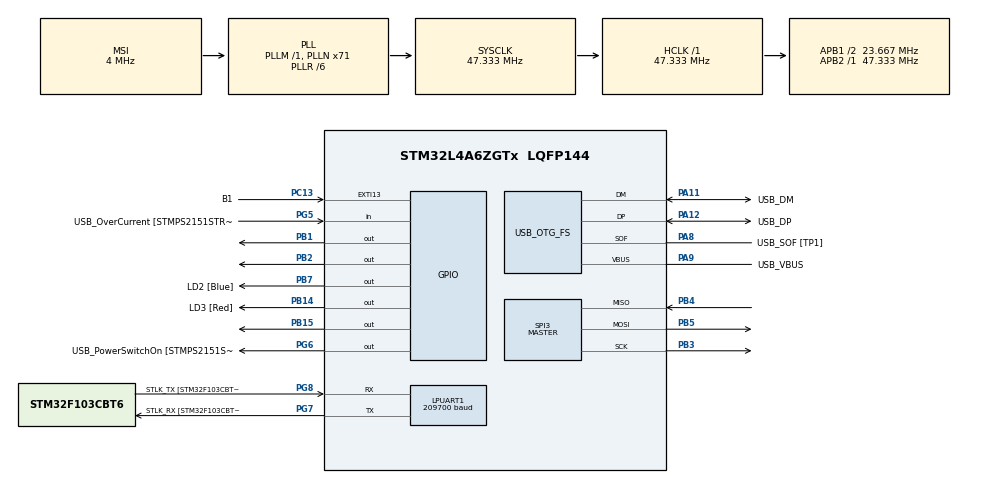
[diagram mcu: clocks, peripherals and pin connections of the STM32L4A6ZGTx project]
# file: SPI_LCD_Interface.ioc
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Dma.LPUART_RX.2.Direction=DMA_PERIPH_TO_MEMORY
Dma.LPUART_RX.2.Instance=DMA2_Channel7
Dma.LPUART_RX.2.MemDataAlignment=DMA_MDATAALIGN_BYTE
Dma.LPUART_RX.2.MemInc=DMA_MINC_ENABLE
Dma.LPUART_RX.2.Mode=DMA_NORMAL
Dma.LPUART_RX.2.PeriphDataAlignment=DMA_PDATAALIGN_BYTE
Dma.LPUART_RX.2.PeriphInc=DMA_PINC_DISABLE
Dma.LPUART_RX.2.Priority=DMA_PRIORITY_LOW
Dma.LPUART_TX.3.Direction=DMA_MEMORY_TO_PERIPH
Dma.LPUART_TX.3.Instance=DMA2_Channel6
Dma.LPUART_TX.3.MemDataAlignment=DMA_MDATAALIGN_BYTE
Dma.LPUART_TX.3.MemInc=DMA_MINC_ENABLE
Dma.LPUART_TX.3.Mode=DMA_NORMAL
Dma.LPUART_TX.3.PeriphDataAlignment=DMA_PDATAALIGN_BYTE
Dma.LPUART_TX.3.PeriphInc=DMA_PINC_DISABLE
Dma.LPUART_TX.3.Priority=DMA_PRIORITY_LOW
Dma.Request0=SPI3_RX
Dma.Request1=SPI3_TX
Dma.Request2=LPUART_RX
Dma.Request3=LPUART_TX
Dma.SPI3_RX.0.Direction=DMA_PERIPH_TO_MEMORY
Dma.SPI3_RX.0.Instance=DMA2_Channel1
Dma.SPI3_RX.0.MemDataAlignment=DMA_MDATAALIGN_BYTE
Dma.SPI3_RX.0.MemInc=DMA_MINC_ENABLE
Dma.SPI3_RX.0.Mode=DMA_NORMAL
Dma.SPI3_RX.0.PeriphDataAlignment=DMA_PDATAALIGN_BYTE
Dma.SPI3_RX.0.PeriphInc=DMA_PINC_DISABLE
Dma.SPI3_RX.0.Priority=DMA_PRIORITY_LOW
Dma.SPI3_TX.1.Direction=DMA_MEMORY_TO_PERIPH
Dma.SPI3_TX.1.Instance=DMA2_Channel2
Dma.SPI3_TX.1.MemDataAlignment=DMA_MDATAALIGN_BYTE
Dma.SPI3_TX.1.MemInc=DMA_MINC_ENABLE
Dma.SPI3_TX.1.Mode=DMA_NORMAL
Dma.SPI3_TX.1.PeriphDataAlignment=DMA_PDATAALIGN_BYTE
Dma.SPI3_TX.1.PeriphInc=DMA_PINC_DISABLE
Dma.SPI3_TX.1.Priority=DMA_PRIORITY_LOW
LPUART1.AutoBaudRateEnableParam=UART_ADVFEATURE_AUTOBAUDRATE_DISABLE
LPUART1.BaudRate=209700
LPUART1.DMADisableonRxErrorParam=UART_ADVFEATURE_DMA_ENABLEONRXERROR
LPUART1.DataInvertParam=UART_ADVFEATURE_DATAINV_DISABLE
LPUART1.MSBFirstParam=UART_ADVFEATURE_MSBFIRST_DISABLE
LPUART1.Mode=UART_MODE_TX_RX
LPUART1.OneBitSampling=UART_ONE_BIT_SAMPLE_DISABLE
LPUART1.OverrunDisableParam=UART_ADVFEATURE_OVERRUN_ENABLE
LPUART1.Parity=UART_PARITY_NONE
LPUART1.RxPinLevelInvertParam=UART_ADVFEATURE_RXINV_DISABLE
LPUART1.StopBits=UART_STOPBITS_1
LPUART1.SwapParam=UART_ADVFEATURE_SWAP_DISABLE
LPUART1.TxPinLevelInvertParam=UART_ADVFEATURE_TXINV_DISABLE
LPUART1.WordLength=UART_WORDLENGTH_7B
Mcu.Family=STM32L4
Mcu.Name=STM32L4A6ZGTx
Mcu.Package=LQFP144
NVIC.DMA2_Channel1_IRQn=true\:0\:0\:false\:false\:true\:false\:true\:true
NVIC.DMA2_Channel2_IRQn=true\:0\:0\:false\:false\:true\:false\:true\:true
NVIC.DMA2_Channel6_IRQn=true\:0\:0\:false\:false\:true\:false\:true\:true
NVIC.DMA2_Channel7_IRQn=true\:0\:0\:false\:false\:true\:false\:true\:true
NVIC.PriorityGroup=NVIC_PRIORITYGROUP_4
NVIC.SPI3_IRQn=true\:0\:0\:false\:false\:true\:true\:true\:true
PA10.GPIO_Label=USB_ID
PA10.Signal=USB_OTG_FS_ID
PA11.GPIO_Label=USB_DM
PA11.Mode=Device_Only
PA11.Signal=USB_OTG_FS_DM
PA12.GPIO_Label=USB_DP
PA12.Mode=Device_Only
PA12.Signal=USB_OTG_FS_DP
PA13\ (JTMS/SWDIO).GPIO_Label=TMS
PA13\ (JTMS/SWDIO).Mode=Serial_Wire
PA13\ (JTMS/SWDIO).Signal=SYS_JTMS-SWDIO
PA14\ (JTCK/SWCLK).GPIO_Label=TCK
PA14\ (JTCK/SWCLK).Mode=Serial_Wire
PA14\ (JTCK/SWCLK).Signal=SYS_JTCK-SWCLK
PA4.Signal=SPI3_NSS
PA8.GPIO_Label=USB_SOF [TP1]
PA8.Mode=Activate_SOF_FS
PA8.Signal=USB_OTG_FS_SOF
PA9.GPIO_Label=USB_VBUS
PA9.Mode=Activate_VBUS
PA9.Signal=USB_OTG_FS_VBUS
PB1.Signal=GPIO_Output
PB14.GPIO_Label=LD3 [Red]
PB14.Signal=GPIO_Output
PB15.Signal=GPIO_Output
PB2.Signal=GPIO_Output
PB3\ (JTDO/TRACESWO).Mode=Full_Duplex_Master
PB3\ (JTDO/TRACESWO).Signal=SPI3_SCK
PB4\ (NJTRST).Mode=Full_Duplex_Master
PB4\ (NJTRST).Signal=SPI3_MISO
PB5.Mode=Full_Duplex_Master
PB5.Signal=SPI3_MOSI
PB7.GPIO_Label=LD2 [Blue]
PB7.Signal=GPIO_Output
PC13.GPIO_Label=B1
PC13.Signal=GPXTI13
PC14-OSC32_IN\ (PC14).Mode=LSE-External-Oscillator
PC14-OSC32_IN\ (PC14).Signal=RCC_OSC32_IN
PC15-OSC32_OUT\ (PC15).Mode=LSE-External-Oscillator
PC15-OSC32_OUT\ (PC15).Signal=RCC_OSC32_OUT
PG5.GPIO_Label=USB_OverCurrent [STMPS2151STR_FAULT]
PG5.Signal=GPIO_Input
PG6.GPIO_Label=USB_PowerSwitchOn [STMPS2151STR_EN]
PG6.Signal=GPIO_Output
PG7.GPIO_Label=STLK_RX [STM32F103CBT6_PA3]
PG7.Mode=Asynchronous
PG7.Signal=LPUART1_TX
PG8.GPIO_Label=STLK_TX [STM32F103CBT6_PA2]
PG8.Mode=Asynchronous
PG8.Signal=LPUART1_RX
PH1-OSC_OUT\ (PH1).Signal=RCC_OSC_OUT
ProjectManager.HeapSize=0x200
ProjectManager.StackSize=0x400
ProjectManager.TargetToolchain=STM32CubeIDE
RCC.ADCFreq_Value=48000000
RCC.AHBFreq_Value=47333333.333333336
RCC.APB1CLKDivider=RCC_HCLK_DIV2
RCC.APB1Freq_Value=23666666.666666668
RCC.APB1TimFreq_Value=47333333.333333336
RCC.APB2Freq_Value=47333333.333333336
RCC.APB2TimFreq_Value=47333333.333333336
RCC.CortexFreq_Value=47333333.333333336
RCC.FLatency=FLASH_LATENCY_2
RCC.HCLKFreq_Value=47333333.333333336
RCC.HSE_VALUE=8000000
RCC.HSI48_VALUE=48000000
RCC.HSI_VALUE=16000000
RCC.MSI_VALUE=4000000
RCC.PLLN=71
RCC.PLLR=RCC_PLLR_DIV6
RCC.PLLSAI1N=24
RCC.SYSCLKFreq_VALUE=47333333.333333336
RCC.SYSCLKSource=RCC_SYSCLKSOURCE_PLLCLK
RCC.USBFreq_Value=48000000
RCC.VCOOutputFreq_Value=284000000
SPI3.CalculateBaudRate=11.833333 MBits/s
SPI3.DataSize=SPI_DATASIZE_8BIT
SPI3.Direction=SPI_DIRECTION_2LINES
SPI3.Mode=SPI_MODE_MASTER
SPI3.VirtualType=VM_MASTER
USB_OTG_FS.Sof_enable=ENABLE
USB_OTG_FS.VirtualMode=Device_Only
USB_OTG_FS.battery_charging_enable=ENABLE
USB_OTG_FS.low_power_enable=DISABLE
USB_OTG_FS.lpm_enable=DISABLE
USB_OTG_FS.use_dedicated_ep1=DISABLE
USB_OTG_FS.vbus_sensing_enable=ENABLE
board=NUCLEO-L4A6ZG

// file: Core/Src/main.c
/* USER CODE BEGIN Header */
/**
  ******************************************************************************
  * @file           : main.c
  * @brief          : Main program body with scrolling menu
  ******************************************************************************
  */
/* USER CODE END Header */

/////* USER CODE BEGIN Header */
#include "main.h"
#include "st7735.h"
#include "fonts.h"
#include <stdio.h>
#include <stddef.h>
#include "menu.h"
#include <string.h>
#include <stdint.h>
#include <stdlib.h>

/* Peripheral Handles &
*  Private variables ---------------------------------------------------------*/
UART_HandleTypeDef hlpuart1;
DMA_HandleTypeDef hdma_lpuart_rx;
DMA_HandleTypeDef hdma_lpuart_tx;
SPI_HandleTypeDef hspi3;
DMA_HandleTypeDef hdma_spi3_rx;
DMA_HandleTypeDef hdma_spi3_tx;
PCD_HandleTypeDef hpcd_USB_OTG_FS;

/* Buffers for reception*/
///* USER CODE BEGIN PV */
uint8_t DMA_Buff[255] = {0};
uint8_t main_Buff[255] = {0};

/* Menu State */
typedef enum {
    MENU_MAIN,
    MENU_SHAPES,
    MENU_LIST,
    MENU_SHAPE_RECT,
    MENU_SHAPE_TRIANGLE
} MenuState;

static MenuState currentMenu = MENU_MAIN;
static int selection = 0;  // Scroll index position

/* Menu Item Arrays */
const char *mainMenuItems[] = {"Shapes", "List"}; //main menu items
const int   mainMenuSize    = sizeof(mainMenuItems) / sizeof(mainMenuItems[0]);

const char *shapesMenuItems[] = {"Rectangle", "Triangle", "Back"}; //shapes selected menu items
const int   shapesMenuSize    = sizeof(shapesMenuItems) / sizeof(shapesMenuItems[0]);

const char *listMenuItems[] = {"Apple", "Orange", "Cherry", "Mango", "Back"}; //list selected items
const int   listMenuSize    = sizeof(listMenuItems) / sizeof(listMenuItems[0]);

/* Helper to draw menu */
/**
  * @brief drawMenu Function : Draws the passed menu array, Also toggle selected menu items bgcolor
  * @param items (pointer to pointer linking to various menus)
  * @param itemCount (Size of the array being passed)
  * @param selected (selection index/number being passed)
  * @param bgColor (Highlighting the Background of text)
  * @param textColor (Highlight the text in decided color)
  * @retval None
  */
	/* USER CODE BEGIN 0 */
void drawMenu(const char **items, int itemCount, int selected) {
    ST7735_FillScreenFast(ST7735_BLACK);
    for (int i = 0; i < itemCount; i++) {
        uint16_t bgColor = (i == selected) ? ST7735_YELLOW : ST7735_BLACK;
        uint16_t textColor = (i == selected) ? ST7735_BLACK : ST7735_WHITE;
        ST7735_WriteStringDMA(10, 10 + i * 18, items[i], Font_11x18, textColor, bgColor);
    }
}

/* Menu Drawing Functions */
void drawRectangle(void) {
    ST7735_FillScreenFast(ST7735_BLACK); //resets screen to black so previous text doesn't show
    ST7735_FillRectangleFast(10, 40, 108, 80, ST7735_GREEN); //Rectangle transmission function called on (x , y) coords with selected width and height;
    ST7735_WriteStringDMA(10, 130, "Back (B)", Font_11x18, ST7735_WHITE, ST7735_BLACK);
}

void drawTriangle(void) {
    ST7735_FillScreenFast(ST7735_BLACK); //resets screen to black so previous text doesn't show
    ST7735_DrawTriangle(0, 100, 64, 40, 128, 100, ST7735_GREEN); //Triangle transmission function called on three different (x , y) coords
    ST7735_WriteStringDMA(10, 130, "Back (B)", Font_11x18, ST7735_WHITE, ST7735_BLACK);
}

/* Menu Loop */
/**
  * @brief MenuLoop Function : Used for Cycling through menus and selecting different functions
  * @param mainMenuItems (Array of main menu items)
  * @param mainMenuSize (Size of the main menu array)
  * @param selection (selection index/number being passed), default = 0
  * @param input (Array for receiving characters) used for if conditions
  * @param shapesMenuItems (Array of shapes menu items)
  * @param shapesMenuSize (Size of the shapes menu array)
  * @param listMenuItems (Array of list menu items)
  * @param listMenuSize (Size of list menu array)
  * @retval None
  */
void menuLoop(void) {
    uint8_t input[2] = {0};

    while (1) { //Switch Case State Machine
        switch (currentMenu) {
            case MENU_MAIN:
                drawMenu(mainMenuItems, mainMenuSize, selection); //Draws Main Menu items
                HAL_UART_Receive(&hlpuart1, input, 1, HAL_MAX_DELAY); //receives character from TeraTerm and puts it into input
                if (input[0] == 'w' || input[0] == 'W') //Scrolls up and updates scroll index selection
                    selection = (selection - 1 + mainMenuSize) % mainMenuSize;
                else if (input[0] == 's' || input[0] == 'S') //Scrolls down and updates scroll index selection
                    selection = (selection + 1) % mainMenuSize;
                else if (input[0] == 'e' || input[0] == 'E') { //Selects the menu you want to go in depending on scroll index (selection)
                    if (selection == 0) currentMenu = MENU_SHAPES;
                    else if (selection == 1) currentMenu = MENU_LIST;
                    selection = 0;
                }
                break;

            case MENU_SHAPES:
                drawMenu(shapesMenuItems, shapesMenuSize, selection); //Draws Shapes Menu items
                HAL_UART_Receive(&hlpuart1, input, 1, HAL_MAX_DELAY); //receives character from TeraTerm and puts it into input
                if (input[0] == 'w' || input[0] == 'W') //Scrolls up and updates scroll index selection
                    selection = (selection - 1 + shapesMenuSize) % shapesMenuSize;
                else if (input[0] == 's' || input[0] == 'S') //Scrolls down and updates scroll index selection
                    selection = (selection + 1) % shapesMenuSize;
                else if (input[0] == 'e' || input[0] == 'E') { //Selects the menu you want to go in depending on scroll index (selection)
                    if (selection == 0) currentMenu = MENU_SHAPE_RECT;
                    else if (selection == 1) currentMenu = MENU_SHAPE_TRIANGLE;
                    else if (selection == 2) { currentMenu = MENU_MAIN; selection = 0; }
                }
                break;

            case MENU_LIST:
                drawMenu(listMenuItems, listMenuSize, selection); //Draws List Menu items
                HAL_UART_Receive(&hlpuart1, input, 1, HAL_MAX_DELAY); //receives character from TeraTerm and puts it into input
                if (input[0] == 'w' || input[0] == 'W') //Scrolls up and updates scroll index selection
                    selection = (selection - 1 + listMenuSize) % listMenuSize;
                else if (input[0] == 's' || input[0] == 'S') //Scrolls down and updates scroll index selection
                    selection = (selection + 1) % listMenuSize;
                else if (input[0] == 'e' || input[0] == 'E') { //Selects the menu you want to go in depending on scroll index (selection)
                    if (selection == listMenuSize - 1) { currentMenu = MENU_MAIN; selection = 0; }
                }
                break;

            case MENU_SHAPE_RECT:
                drawRectangle(); //Draws a rectanlge
                HAL_UART_Receive(&hlpuart1, input, 1, HAL_MAX_DELAY); //receives character from TeraTerm and puts it into input
                if (input[0] == 'b' || input[0] == 'B') { currentMenu = MENU_SHAPES; selection = 0; } //if statement using b character to cycle back to the previous menu
                break;

            case MENU_SHAPE_TRIANGLE:
                drawTriangle(); //Draws a Triangle
                HAL_UART_Receive(&hlpuart1, input, 1, HAL_MAX_DELAY); //receives character from TeraTerm and puts it into input
                if (input[0] == 'b' || input[0] == 'B') { currentMenu = MENU_SHAPES; selection = 0; } //if statement using b character to cycle back to the previous menu
                break;
        }
    }
}

void HAL_UARTEx_RxEventCallback(UART_HandleTypeDef *huart, uint16_t Size)
{
    memcpy(main_Buff, DMA_Buff, Size);
}
	/* USER CODE END 0 */

/* Boilerplate Init Functions */
  /* Private function prototypes -----------------------------------------------*/
void SystemClock_Config(void);
static void MX_GPIO_Init(void);
static void MX_DMA_Init(void);
static void MX_LPUART1_UART_Init(void);
static void MX_USB_OTG_FS_PCD_Init(void);
static void MX_SPI3_Init(void);

/* Main Entry */
int main(void) {
  /* MCU Configuration--------------------------------------------------------*/
    HAL_Init();
    SystemClock_Config();
    MX_GPIO_Init(); //Intializes GPIO pins
    MX_DMA_Init(); // Intializes DMA
    MX_LPUART1_UART_Init();
    MX_USB_OTG_FS_PCD_Init();
    MX_SPI3_Init();

    ST7735_Init(); //Intializes the Display
    while(1)
    {
  /* USER CODE BEGIN 3 */
    	menuLoop();
  /* USER CODE END 3 */
    }
  /* USER CODE END WHILE */
}

void SystemClock_Config(void)
{
  RCC_OscInitTypeDef RCC_OscInitStruct = {0};
  RCC_ClkInitTypeDef RCC_ClkInitStruct = {0};

  /** Configure the main internal regulator output voltage
  */
  if (HAL_PWREx_ControlVoltageScaling(PWR_REGULATOR_VOLTAGE_SCALE1) != HAL_OK)
  {
    Error_Handler();
  }

  /** Configure LSE Drive Capability
  */
  HAL_PWR_EnableBkUpAccess();
  __HAL_RCC_LSEDRIVE_CONFIG(RCC_LSEDRIVE_LOW);

  /** Initializes the RCC Oscillators according to the specified parameters
  * in the RCC_OscInitTypeDef structure.
  */
  RCC_OscInitStruct.OscillatorType = RCC_OSCILLATORTYPE_LSE|RCC_OSCILLATORTYPE_MSI;
  RCC_OscInitStruct.LSEState = RCC_LSE_ON;
  RCC_OscInitStruct.MSIState = RCC_MSI_ON;
  RCC_OscInitStruct.MSICalibrationValue = 0;
  RCC_OscInitStruct.MSIClockRange = RCC_MSIRANGE_6;
  RCC_OscInitStruct.PLL.PLLState = RCC_PLL_ON;
  RCC_OscInitStruct.PLL.PLLSource = RCC_PLLSOURCE_MSI;
  RCC_OscInitStruct.PLL.PLLM = 1;
  RCC_OscInitStruct.PLL.PLLN = 71;
  RCC_OscInitStruct.PLL.PLLP = RCC_PLLP_DIV2;
  RCC_OscInitStruct.PLL.PLLQ = RCC_PLLQ_DIV2;
  RCC_OscInitStruct.PLL.PLLR = RCC_PLLR_DIV6;
  if (HAL_RCC_OscConfig(&RCC_OscInitStruct) != HAL_OK)
  {
    Error_Handler();
  }

  /** Initializes the CPU, AHB and APB buses clocks
  */
  RCC_ClkInitStruct.ClockType = RCC_CLOCKTYPE_HCLK|RCC_CLOCKTYPE_SYSCLK
                              |RCC_CLOCKTYPE_PCLK1|RCC_CLOCKTYPE_PCLK2;
  RCC_ClkInitStruct.SYSCLKSource = RCC_SYSCLKSOURCE_PLLCLK;
  RCC_ClkInitStruct.AHBCLKDivider = RCC_SYSCLK_DIV1;
  RCC_ClkInitStruct.APB1CLKDivider = RCC_HCLK_DIV2;
  RCC_ClkInitStruct.APB2CLKDivider = RCC_HCLK_DIV1;

  if (HAL_RCC_ClockConfig(&RCC_ClkInitStruct, FLASH_LATENCY_2) != HAL_OK)
  {
    Error_Handler();
  }

  /** Enable MSI Auto calibration
  */
  HAL_RCCEx_EnableMSIPLLMode();
}

static void MX_LPUART1_UART_Init(void)
{

  hlpuart1.Instance = LPUART1;
  hlpuart1.Init.BaudRate = 115200;
  hlpuart1.Init.WordLength = UART_WORDLENGTH_8B;
  hlpuart1.Init.StopBits = UART_STOPBITS_2;
  hlpuart1.Init.Parity = UART_PARITY_NONE;
  hlpuart1.Init.Mode = UART_MODE_TX_RX;
  hlpuart1.Init.HwFlowCtl = UART_HWCONTROL_NONE;
  hlpuart1.Init.OneBitSampling = UART_ONE_BIT_SAMPLE_DISABLE;
  hlpuart1.AdvancedInit.AdvFeatureInit = UART_ADVFEATURE_NO_INIT;
  if (HAL_UART_Init(&hlpuart1) != HAL_OK)
  {
    Error_Handler();
  }

}

static void MX_SPI3_Init(void)
{

	SPI_HandleTypeDef *hspi3 = &ST7735_SPI_PORT;

  /* SPI3 parameter configuration*/
  hspi3->Instance = SPI3;
  hspi3->Init.Mode = SPI_MODE_MASTER;
  hspi3->Init.Direction = SPI_DIRECTION_2LINES;
  hspi3->Init.DataSize = SPI_DATASIZE_8BIT;
  hspi3->Init.CLKPolarity = SPI_POLARITY_LOW;
  hspi3->Init.CLKPhase = SPI_PHASE_1EDGE;
  hspi3->Init.NSS = SPI_NSS_SOFT;
  hspi3->Init.BaudRatePrescaler = SPI_BAUDRATEPRESCALER_2;
  hspi3->Init.FirstBit = SPI_FIRSTBIT_MSB;
  hspi3->Init.TIMode = SPI_TIMODE_DISABLE;
  hspi3->Init.CRCCalculation = SPI_CRCCALCULATION_DISABLE;
  hspi3->Init.CRCPolynomial = 7;
  hspi3->Init.CRCLength = SPI_CRC_LENGTH_DATASIZE;
  hspi3->Init.NSSPMode = SPI_NSS_PULSE_ENABLE;
  if (HAL_SPI_Init(hspi3) != HAL_OK)
  {
    Error_Handler();
  }

}

static void MX_USB_OTG_FS_PCD_Init(void)
{

  hpcd_USB_OTG_FS.Instance = USB_OTG_FS;
  hpcd_USB_OTG_FS.Init.dev_endpoints = 6;
  hpcd_USB_OTG_FS.Init.speed = PCD_SPEED_FULL;
  hpcd_USB_OTG_FS.Init.phy_itface = PCD_PHY_EMBEDDED;
  hpcd_USB_OTG_FS.Init.Sof_enable = ENABLE;
  hpcd_USB_OTG_FS.Init.low_power_enable = DISABLE;
  hpcd_USB_OTG_FS.Init.lpm_enable = DISABLE;
  hpcd_USB_OTG_FS.Init.battery_charging_enable = ENABLE;
  hpcd_USB_OTG_FS.Init.use_dedicated_ep1 = DISABLE;
  hpcd_USB_OTG_FS.Init.vbus_sensing_enable = ENABLE;
  if (HAL_PCD_Init(&hpcd_USB_OTG_FS) != HAL_OK)
  {
    Error_Handler();
  }

}

static void MX_DMA_Init(void)
{

  /* DMA controller clock enable */
  __HAL_RCC_DMA2_CLK_ENABLE();

  /* DMA interrupt init */
  /* DMA2_Channel1_IRQn interrupt configuration */
  HAL_NVIC_SetPriority(DMA2_Channel1_IRQn, 0, 0);
  HAL_NVIC_EnableIRQ(DMA2_Channel1_IRQn);
  /* DMA2_Channel2_IRQn interrupt configuration */
  HAL_NVIC_SetPriority(DMA2_Channel2_IRQn, 0, 0);
  HAL_NVIC_EnableIRQ(DMA2_Channel2_IRQn);
  /* DMA2_Channel6_IRQn interrupt configuration */
  HAL_NVIC_SetPriority(DMA2_Channel6_IRQn, 0, 0);
  HAL_NVIC_EnableIRQ(DMA2_Channel6_IRQn);
  /* DMA2_Channel7_IRQn interrupt configuration */
  HAL_NVIC_SetPriority(DMA2_Channel7_IRQn, 0, 0);
  HAL_NVIC_EnableIRQ(DMA2_Channel7_IRQn);

}

static void MX_GPIO_Init(void) {
    GPIO_InitTypeDef GPIO_InitStruct = {0};

    // Enable clocks
    __HAL_RCC_GPIOC_CLK_ENABLE();
    __HAL_RCC_GPIOH_CLK_ENABLE();
    __HAL_RCC_GPIOA_CLK_ENABLE();
    __HAL_RCC_GPIOB_CLK_ENABLE();
    __HAL_RCC_GPIOG_CLK_ENABLE();
    __HAL_RCC_GPIOC_CLK_ENABLE();
    __HAL_RCC_GPIOH_CLK_ENABLE();
    __HAL_RCC_GPIOB_CLK_ENABLE();
    __HAL_RCC_GPIOG_CLK_ENABLE();
    __HAL_RCC_GPIOA_CLK_ENABLE();
    HAL_PWREx_EnableVddIO2();

     /*Configure GPIO pin Output Level */
     HAL_GPIO_WritePin(GPIOB, LD3_Pin|LD2_Pin, GPIO_PIN_RESET);

     /*Configure GPIO pin Output Level */
     HAL_GPIO_WritePin(USB_PowerSwitchOn_GPIO_Port, USB_PowerSwitchOn_Pin, GPIO_PIN_RESET);

     /*Configure GPIO pin : B1_Pin */
     GPIO_InitStruct.Pin = B1_Pin;
     GPIO_InitStruct.Mode = GPIO_MODE_IT_RISING;
     GPIO_InitStruct.Pull = GPIO_NOPULL;
     HAL_GPIO_Init(B1_GPIO_Port, &GPIO_InitStruct);

     /*Configure GPIO pins : LD3_Pin LD2_Pin */
     GPIO_InitStruct.Pin = LD3_Pin|LD2_Pin;
     GPIO_InitStruct.Mode = GPIO_MODE_OUTPUT_PP;
     GPIO_InitStruct.Pull = GPIO_NOPULL;
     GPIO_InitStruct.Speed = GPIO_SPEED_FREQ_LOW;
     HAL_GPIO_Init(GPIOB, &GPIO_InitStruct);

     /*Configure GPIO pin : USB_OverCurrent_Pin */
     GPIO_InitStruct.Pin = USB_OverCurrent_Pin;
     GPIO_InitStruct.Mode = GPIO_MODE_INPUT;
     GPIO_InitStruct.Pull = GPIO_NOPULL;
     HAL_GPIO_Init(USB_OverCurrent_GPIO_Port, &GPIO_InitStruct);

     /*Configure GPIO pin : USB_PowerSwitchOn_Pin */
     GPIO_InitStruct.Pin = USB_PowerSwitchOn_Pin;
     GPIO_InitStruct.Mode = GPIO_MODE_OUTPUT_PP;
     GPIO_InitStruct.Pull = GPIO_NOPULL;
     GPIO_InitStruct.Speed = GPIO_SPEED_FREQ_LOW;
     HAL_GPIO_Init(USB_PowerSwitchOn_GPIO_Port, &GPIO_InitStruct);

    // Display Pins
    // Backlight (PB15)
    GPIO_InitStruct.Pin = GPIO_PIN_15;
    GPIO_InitStruct.Mode = GPIO_MODE_OUTPUT_PP;
    GPIO_InitStruct.Pull = GPIO_NOPULL;
    GPIO_InitStruct.Speed = GPIO_SPEED_FREQ_HIGH;
    HAL_GPIO_Init(GPIOB, &GPIO_InitStruct);
    HAL_GPIO_WritePin(GPIOB, GPIO_PIN_15, GPIO_PIN_SET);  // Backlight ON

    // Reset (PB2)
    GPIO_InitStruct.Pin = GPIO_PIN_2;
    GPIO_InitStruct.Mode = GPIO_MODE_OUTPUT_PP;
    GPIO_InitStruct.Pull = GPIO_NOPULL;
    GPIO_InitStruct.Speed = GPIO_SPEED_FREQ_HIGH;
    HAL_GPIO_Init(GPIOB, &GPIO_InitStruct);

    // DC (PB1)
    GPIO_InitStruct.Pin = GPIO_PIN_1;
    GPIO_InitStruct.Mode = GPIO_MODE_OUTPUT_PP;
    GPIO_InitStruct.Pull = GPIO_NOPULL;
    GPIO_InitStruct.Speed = GPIO_SPEED_FREQ_HIGH;
    HAL_GPIO_Init(GPIOB, &GPIO_InitStruct);

    // CS (PA4)
    GPIO_InitStruct.Pin = GPIO_PIN_4;
    GPIO_InitStruct.Mode = GPIO_MODE_OUTPUT_PP;
    GPIO_InitStruct.Pull = GPIO_NOPULL;
    GPIO_InitStruct.Speed = GPIO_SPEED_FREQ_HIGH;
    HAL_GPIO_Init(GPIOA, &GPIO_InitStruct);

    // Set initial states
    HAL_GPIO_WritePin(GPIOB, GPIO_PIN_2, GPIO_PIN_SET);   // Reset high
    HAL_GPIO_WritePin(GPIOB, GPIO_PIN_1, GPIO_PIN_RESET); // DC low (command)
    HAL_GPIO_WritePin(GPIOA, GPIO_PIN_4, GPIO_PIN_SET);   // CS high

    // ... rest of your existing GPIO configuration ...
}
//static void MX_GPIO_Init(void)
//{
//  GPIO_InitTypeDef GPIO_InitStruct = {0};
//  /* USER CODE BEGIN MX_GPIO_Init_1 */
//
//  /* USER CODE END MX_GPIO_Init_1 */
//
//  /* GPIO Ports Clock Enable */
//  __HAL_RCC_GPIOC_CLK_ENABLE();
//  __HAL_RCC_GPIOH_CLK_ENABLE();
//  __HAL_RCC_GPIOA_CLK_ENABLE();
//  __HAL_RCC_GPIOB_CLK_ENABLE();
//  __HAL_RCC_GPIOG_CLK_ENABLE();
//  HAL_PWREx_EnableVddIO2();
//
//  /*Configure GPIO pin Output Level */
//  GPIO_InitStruct.Pin = GPIO_PIN_15;
//  GPIO_InitStruct.Mode = GPIO_MODE_OUTPUT_PP;
//  GPIO_InitStruct.Pull = GPIO_NOPULL;
//  GPIO_InitStruct.Speed = GPIO_SPEED_FREQ_LOW;
//  HAL_GPIO_Init(GPIOB, &GPIO_InitStruct);
//
//  // Display Control Pins
//  GPIO_InitStruct.Pin = GPIO_PIN_1 | GPIO_PIN_2;
//  HAL_GPIO_Init(GPIOB, &GPIO_InitStruct);
//
//  GPIO_InitStruct.Pin = GPIO_PIN_4;
//  HAL_GPIO_Init(GPIOA, &GPIO_InitStruct);
//
//  HAL_GPIO_WritePin(GPIOB, GPIO_PIN_1|GPIO_PIN_2|LD3_Pin|GPIO_PIN_15
//                          |LD2_Pin, GPIO_PIN_RESET);
//
//  /*Configure GPIO pin Output Level */
//  HAL_GPIO_WritePin(USB_PowerSwitchOn_GPIO_Port, USB_PowerSwitchOn_Pin, GPIO_PIN_RESET);
//
//  /*Configure GPIO pin : B1_Pin */
//  GPIO_InitStruct.Pin = B1_Pin;
//  GPIO_InitStruct.Mode = GPIO_MODE_IT_RISING;
//  GPIO_InitStruct.Pull = GPIO_NOPULL;
//  HAL_GPIO_Init(B1_GPIO_Port, &GPIO_InitStruct);
//
//  /*Configure GPIO pins : PB1 PB2 LD3_Pin PB15
//                           LD2_Pin */
//  GPIO_InitStruct.Pin = GPIO_PIN_1|GPIO_PIN_2|LD3_Pin|GPIO_PIN_15
//                          |LD2_Pin;
//  GPIO_InitStruct.Mode = GPIO_MODE_OUTPUT_PP;
//  GPIO_InitStruct.Pull = GPIO_NOPULL;
//  GPIO_InitStruct.Speed = GPIO_SPEED_FREQ_LOW;
//  HAL_GPIO_Init(GPIOB, &GPIO_InitStruct);
//
//  /*Configure GPIO pin : USB_OverCurrent_Pin */
//  GPIO_InitStruct.Pin = USB_OverCurrent_Pin;
//  GPIO_InitStruct.Mode = GPIO_MODE_INPUT;
//  GPIO_InitStruct.Pull = GPIO_NOPULL;
//  HAL_GPIO_Init(USB_OverCurrent_GPIO_Port, &GPIO_InitStruct);
//
//  /*Configure GPIO pin : USB_PowerSwitchOn_Pin */
//  GPIO_InitStruct.Pin = USB_PowerSwitchOn_Pin;
//  GPIO_InitStruct.Mode = GPIO_MODE_OUTPUT_PP;
//  GPIO_InitStruct.Pull = GPIO_NOPULL;
//  GPIO_InitStruct.Speed = GPIO_SPEED_FREQ_LOW;
//  HAL_GPIO_Init(USB_PowerSwitchOn_GPIO_Port, &GPIO_InitStruct);
//
//  /* USER CODE BEGIN MX_GPIO_Init_2 */
//
//  /* USER CODE END MX_GPIO_Init_2 */
//}

void Error_Handler(void)
{
  __disable_irq();
  while (1)
  {
  }
}
